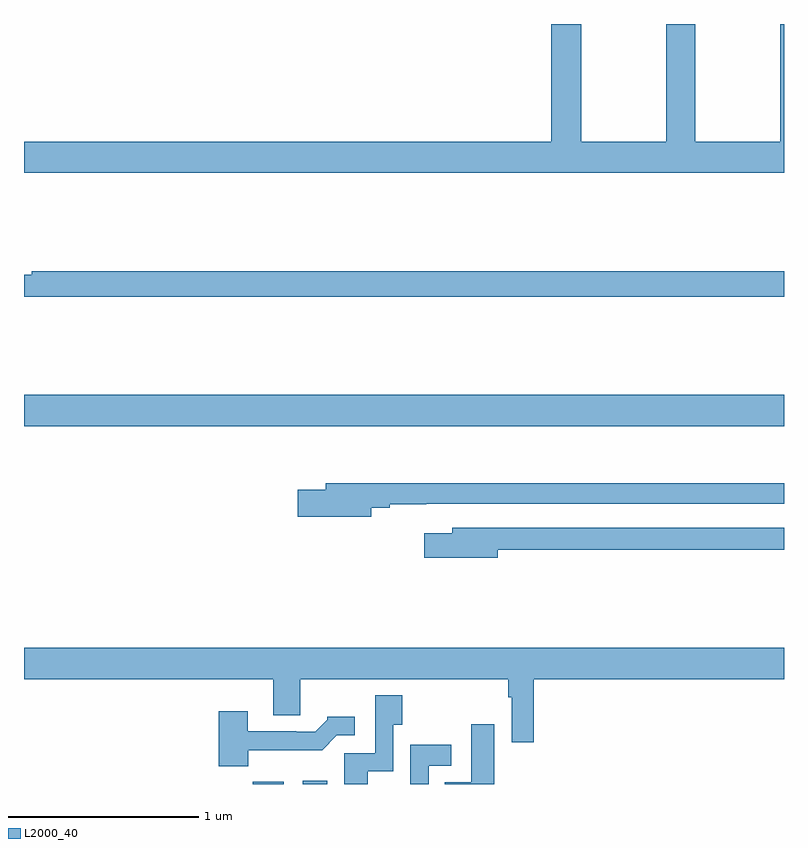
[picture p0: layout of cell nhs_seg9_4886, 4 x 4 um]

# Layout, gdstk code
import gdstk
lib = gdstk.Library(unit=1e-6, precision=1e-09)
def R(c, l, rs):  # rectangles x0, y0, x1, y1
    for r in rs: c.add(gdstk.rectangle(r[:2], r[2:], *l))
def P(c, l, *ps):  # polygons
    for p in ps: c.add(gdstk.Polygon(p, *l))
L2000_40 = (2000, 40)

nhs_seg9_4886 = lib.new_cell('nhs_seg9_4886')
R(nhs_seg9_4886, L2000_40, [(394.204,1230.5,394.366,1230.511), (394.466,1230.5,394.597,1230.517), (393,1232.384,397,1232.548)])
P(nhs_seg9_4886, L2000_40, [(397,1234.5),(396.979,1234.5),(396.979,1233.88),(396.534,1233.88),(396.534,1234.5),(396.379,1234.5),(396.379,1233.88),(395.934,1233.88),(395.934,1234.5),(395.774,1234.5),(395.774,1233.88),(393,1233.88),(393,1233.716),(397,1233.716)],
  [(397,1233.2),(393.04,1233.2),(393.04,1233.181),(393,1233.181),(393,1233.064),(397,1233.064)],
  [(394.828,1231.954),(394.924,1231.954),(394.924,1231.973),(395.118,1231.973),(395.118,1231.974),(397,1231.974),(397,1232.083),(394.589,1232.083),(394.589,1232.049),(394.44,1232.049),(394.44,1231.907),(394.828,1231.907)],
  [(395.494,1231.732),(397,1231.732),(397,1231.848),(395.255,1231.848),(395.255,1231.819),(395.106,1231.819),(395.106,1231.69),(395.494,1231.69)],
  [(395.684,1231.052),(397,1231.052),(397,1231.216),(393,1231.216),(393,1231.052),(394.313,1231.052),(394.313,1230.862),(394.453,1230.862),(394.453,1231.052),(395.548,1231.052),(395.548,1230.956),(395.568,1230.956),(395.568,1230.72),(395.684,1230.72)],
  [(394.81,1230.566),(394.944,1230.566),(394.944,1230.811),(394.992,1230.811),(394.992,1230.967),(394.848,1230.967),(394.848,1230.663),(394.685,1230.663),(394.685,1230.5),(394.81,1230.5)],
  [(394.18,1230.678),(394.569,1230.678),(394.647,1230.756),(394.741,1230.756),(394.741,1230.853),(394.596,1230.853),(394.596,1230.838),(394.532,1230.774),(394.433,1230.774),(394.433,1230.777),(394.177,1230.777),(394.177,1230.883),(394.025,1230.883),(394.025,1230.593),(394.18,1230.593)],
  [(395.476,1230.814),(395.354,1230.814),(395.354,1230.508),(395.215,1230.508),(395.215,1230.5),(395.476,1230.5)],
  [(395.13,1230.597),(395.248,1230.597),(395.248,1230.706),(395.034,1230.706),(395.034,1230.5),(395.13,1230.5)])

lib.write_gds('nhs_seg9_4886.gds')
